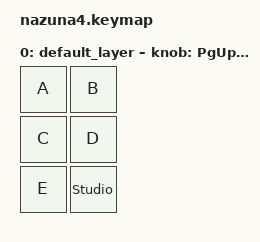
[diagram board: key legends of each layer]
// This file was generated from a template. Edit it to match your keyboard.
// See https://zmk.dev/docs/development/hardware-integration/new-shield for more instructions.

#include <behaviors.dtsi>
#include <dt-bindings/zmk/keys.h>

/ {
    // Define a default keymap here.
    // See https://zmk.dev/docs/development/hardware-integration/new-shield#default-keymap.
    keymap {
        compatible = "zmk,keymap";

        default_layer {
            bindings = <
                &kp A &kp B
                &kp C &kp D
                &kp E &studio_unlock
            >;
            sensor-bindings = <&inc_dec_kp PG_UP PG_DN>;
        };
        extra1 {
            status = "reserved";
        };

        extra2 {
            status = "reserved";
        };
    };
};
